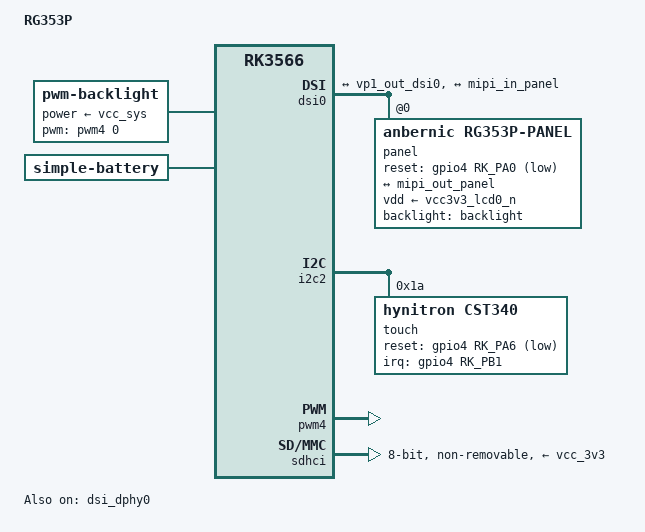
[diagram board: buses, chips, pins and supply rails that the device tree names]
// SPDX-License-Identifier: (GPL-2.0+ OR MIT)

/dts-v1/;

#include <dt-bindings/gpio/gpio.h>
#include <dt-bindings/input/linux-event-codes.h>
#include <dt-bindings/pinctrl/rockchip.h>
#include "rk3566-anbernic-rgxx3.dtsi"

/ {
	model = "RG353P";
	compatible = "anbernic,rg353p", "rockchip,rk3566";

	aliases {
		mmc0 = &sdhci;
		mmc1 = &sdmmc0;
		mmc2 = &sdmmc1;
		mmc3 = &sdmmc2;
	};

	backlight: backlight {
		compatible = "pwm-backlight";
		power-supply = <&vcc_sys>;
		pwms = <&pwm4 0 25000 0>;
	};

	battery: battery {
		compatible = "simple-battery";
		charge-full-design-microamp-hours = <3472000>;
		charge-term-current-microamp = <300000>;
		constant-charge-current-max-microamp = <2000000>;
		constant-charge-voltage-max-microvolt = <4250000>;
		factory-internal-resistance-micro-ohms = <117000>;
		voltage-max-design-microvolt = <4172000>;
		voltage-min-design-microvolt = <3400000>;

		ocv-capacity-celsius = <20>;
		ocv-capacity-table-0 =  <4172000 100>, <4054000 95>, <3984000 90>, <3926000 85>,
					<3874000 80>, <3826000 75>, <3783000 70>, <3746000 65>,
					<3714000 60>, <3683000 55>, <3650000 50>, <3628000 45>,
					<3612000 40>, <3600000 35>, <3587000 30>, <3571000 25>,
					<3552000 20>, <3525000 15>, <3492000 10>, <3446000 5>,
					<3400000 0>;
	};
};

&cru {
	assigned-clocks = <&cru PLL_GPLL>, <&pmucru PLL_PPLL>, <&cru PLL_VPLL>;
	assigned-clock-rates = <1200000000>, <200000000>, <241500000>;
};

&dsi0 {
	status = "okay";
	#address-cells = <1>;
	#size-cells = <0>;

	ports {
		dsi0_in: port@0 {
			reg = <0>;
			dsi0_in_vp1: endpoint {
				remote-endpoint = <&vp1_out_dsi0>;
			};
		};

		dsi0_out: port@1 {
			reg = <1>;
			mipi_out_panel: endpoint {
				remote-endpoint = <&mipi_in_panel>;
			};
		};
	};

	panel@0 {
		compatible = "anbernic,rg353p-panel", "newvision,nv3051d";
		reg = <0>;
		backlight = <&backlight>;
		pinctrl-names = "default";
		pinctrl-0 = <&lcd_rst>;
		reset-gpios = <&gpio4 RK_PA0 GPIO_ACTIVE_LOW>;
		vdd-supply = <&vcc3v3_lcd0_n>;

		port {
			mipi_in_panel: endpoint {
				remote-endpoint = <&mipi_out_panel>;
			};
		};
	};
};

&gpio_keys_control {
	button-a {
		gpios = <&gpio3 RK_PC2 GPIO_ACTIVE_LOW>;
		label = "EAST";
		linux,code = <BTN_EAST>;
	};

	button-left {
		gpios = <&gpio3 RK_PA6 GPIO_ACTIVE_LOW>;
		label = "DPAD-LEFT";
		linux,code = <BTN_DPAD_LEFT>;
	};

	button-r1 {
		gpios = <&gpio3 RK_PB4 GPIO_ACTIVE_LOW>;
		label = "TR";
		linux,code = <BTN_TR>;
	};

	button-r2 {
		gpios = <&gpio3 RK_PB3 GPIO_ACTIVE_LOW>;
		label = "TR2";
		linux,code = <BTN_TR2>;
	};

	button-right {
		gpios = <&gpio3 RK_PA5 GPIO_ACTIVE_LOW>;
		label = "DPAD-RIGHT";
		linux,code = <BTN_DPAD_RIGHT>;
	};

	button-y {
		gpios = <&gpio3 RK_PC1 GPIO_ACTIVE_LOW>;
		label = "WEST";
		linux,code = <BTN_WEST>;
	};
};

&i2c0 {
	/* This hardware is physically present but unused. */
	power-monitor@62 {
		compatible = "cellwise,cw2015";
		reg = <0x62>;
		status = "disabled";
	};
};

&i2c2 {
	pintctrl-names = "default";
	pinctrl-0 = <&i2c2m1_xfer>;
	status = "okay";

	touch@1a {
		compatible = "hynitron,cst340";
		reg = <0x1a>;
		interrupt-parent = <&gpio4>;
		interrupts = <RK_PB1 IRQ_TYPE_EDGE_FALLING>;
		pinctrl-0 = <&touch_rst>;
		pinctrl-names = "default";
		reset-gpios = <&gpio4 RK_PA6 GPIO_ACTIVE_LOW>;
		touchscreen-size-x = <640>;
		touchscreen-size-y = <480>;
		status = "okay";
	};
};

&dsi_dphy0 {
	status = "okay";
};

&pinctrl {
	gpio-lcd {
		lcd_rst: lcd-rst {
			rockchip,pins =
				<4 RK_PA0 RK_FUNC_GPIO &pcfg_pull_none>;
		};
	};

	touch {
		touch_rst: touch-rst {
			rockchip,pins =
				<4 RK_PA6 RK_FUNC_GPIO &pcfg_pull_up>;
		};
	};
};

&pwm4 {
	status = "okay";
};

&rk817 {
	rk817_charger: charger {
		monitored-battery = <&battery>;
		rockchip,resistor-sense-micro-ohms = <10000>;
		rockchip,sleep-enter-current-microamp = <300000>;
		rockchip,sleep-filter-current-microamp = <100000>;
	};
};

&sdhci {
	pinctrl-0 = <&emmc_bus8>, <&emmc_clk>, <&emmc_cmd>, <&emmc_datastrobe>, <&emmc_rstnout>;
	pinctrl-names = "default";
	bus-width = <8>;
	mmc-hs200-1_8v;
	non-removable;
	vmmc-supply = <&vcc_3v3>;
	vqmmc-supply = <&vcc_1v8>;
	status = "okay";
};

&vp1 {
	vp1_out_dsi0: endpoint@ROCKCHIP_VOP2_EP_MIPI0 {
		reg = <ROCKCHIP_VOP2_EP_MIPI0>;
		remote-endpoint = <&dsi0_in_vp1>;
	};
};
